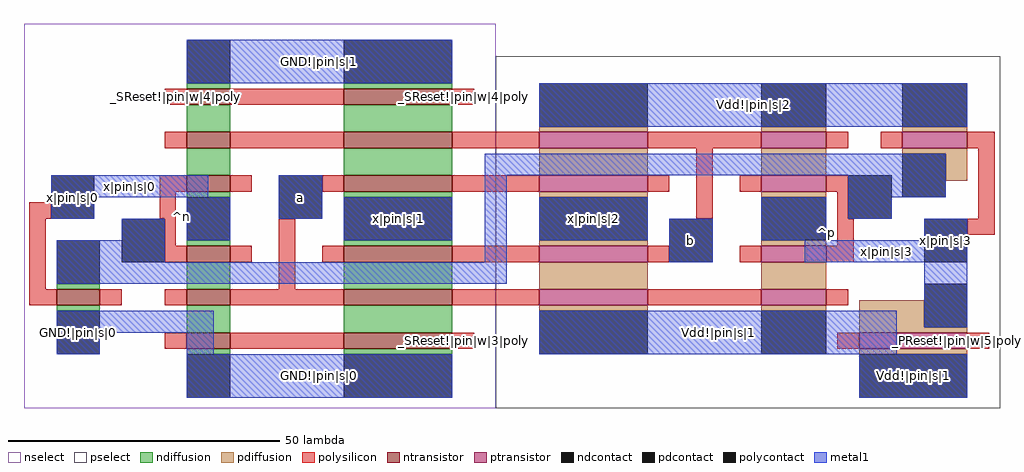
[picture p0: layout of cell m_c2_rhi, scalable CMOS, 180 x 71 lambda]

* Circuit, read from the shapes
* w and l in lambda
.subckt m_c2_rhi GND!|pin|s|0 GND!|pin|s|1 Vdd!|pin|s|1 Vdd!|pin|s|2 _PReset!|pin|w|5|poly _SReset!|pin|w|3|poly _SReset!|pin|w|4|poly a b x|pin|s|0 x|pin|s|1 x|pin|s|2 x|pin|s|3
M1 n1 x|pin|s|0 GND!|pin|s|0 VSUBS nfet w=8 l=3
M2 n2 _SReset!|pin|w|3|poly GND!|pin|s|0 VSUBS nfet w=8 l=3
M3 n3 a n2 VSUBS nfet w=8 l=3
M4 x|pin|s|0 n1 n3 VSUBS nfet w=8 l=3
M5 n4 n1 x|pin|s|0 VSUBS nfet w=8 l=3
M6 n5 b n4 VSUBS nfet w=8 l=3
M7 GND!|pin|s|1 _SReset!|pin|w|4|poly n5 VSUBS nfet w=8 l=3
M8 n6 _SReset!|pin|w|3|poly GND!|pin|s|0 VSUBS nfet w=20 l=3
M9 n7 a n6 VSUBS nfet w=20 l=3
M10 x|pin|s|1 b n7 VSUBS nfet w=20 l=3
M11 n8 a x|pin|s|1 VSUBS nfet w=20 l=3
M12 n9 b n8 VSUBS nfet w=20 l=3
M13 GND!|pin|s|1 _SReset!|pin|w|4|poly n9 VSUBS nfet w=20 l=3
M14 n10 a Vdd!|pin|s|1 NWELL pfet w=20 l=3
M15 x|pin|s|2 b n10 NWELL pfet w=20 l=3
M16 n11 a x|pin|s|2 NWELL pfet w=20 l=3
M17 Vdd!|pin|s|2 b n11 NWELL pfet w=20 l=3
M18 n12 a Vdd!|pin|s|1 NWELL pfet w=12 l=3
M19 x|pin|s|3 n1 n12 NWELL pfet w=12 l=3
M20 n13 n1 x|pin|s|3 NWELL pfet w=12 l=3
M21 Vdd!|pin|s|2 b n13 NWELL pfet w=12 l=3
M22 x|pin|s|3 _PReset!|pin|w|5|poly Vdd!|pin|s|1 NWELL pfet w=20 l=3
M23 Vdd!|pin|s|2 x|pin|s|3 n1 NWELL pfet w=12 l=3
.ends

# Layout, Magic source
magic
tech scmos
<< nselect >>
rect -87 15 0 86
<< pselect >>
rect 0 15 93 80
<< ndiffusion >>
rect -57 74 -49 75
rect -28 74 -8 75
rect -57 66 -49 71
rect -28 66 -8 71
rect -57 58 -49 63
rect -28 58 -8 63
rect -57 54 -49 55
rect -57 45 -49 46
rect -28 54 -8 55
rect -81 37 -73 38
rect -57 37 -49 42
rect -28 45 -8 46
rect -28 37 -8 42
rect -81 33 -73 34
rect -57 29 -49 34
rect -28 29 -8 34
rect -57 25 -49 26
rect -28 25 -8 26
<< pdiffusion >>
rect 8 66 28 67
rect 49 66 61 67
rect 75 66 87 67
rect 8 58 28 63
rect 8 54 28 55
rect 49 58 61 63
rect 75 62 87 63
rect 8 45 28 46
rect 49 54 61 55
rect 49 45 61 46
rect 83 57 87 62
rect 8 37 28 42
rect 49 37 61 42
rect 8 33 28 34
rect 49 33 61 34
rect 67 30 79 35
rect 67 29 87 30
rect 67 25 87 26
<< ntransistor >>
rect -57 71 -49 74
rect -28 71 -8 74
rect -57 63 -49 66
rect -28 63 -8 66
rect -57 55 -49 58
rect -28 55 -8 58
rect -57 42 -49 45
rect -28 42 -8 45
rect -81 34 -73 37
rect -57 34 -49 37
rect -28 34 -8 37
rect -57 26 -49 29
rect -28 26 -8 29
<< ptransistor >>
rect 8 63 28 66
rect 49 63 61 66
rect 75 63 87 66
rect 8 55 28 58
rect 49 55 61 58
rect 8 42 28 45
rect 49 42 61 45
rect 8 34 28 37
rect 49 34 61 37
rect 67 26 87 29
<< polysilicon >>
rect -61 71 -57 74
rect -49 71 -28 74
rect -8 71 -4 74
rect -61 63 -57 66
rect -49 63 -28 66
rect -8 63 8 66
rect 28 63 49 66
rect 61 63 65 66
rect 71 63 75 66
rect 87 63 92 66
rect -86 50 -82 53
rect -62 55 -57 58
rect -49 55 -45 58
rect -62 50 -59 55
rect -86 37 -83 50
rect -61 45 -59 50
rect -32 55 -28 58
rect -8 55 8 58
rect 28 55 32 58
rect -61 42 -57 45
rect -49 42 -45 45
rect -40 37 -37 50
rect 37 50 40 63
rect 45 55 49 58
rect 61 55 65 58
rect -32 42 -28 45
rect -8 42 8 45
rect 28 42 32 45
rect 63 50 65 55
rect 89 50 92 63
rect 63 45 66 50
rect 45 42 49 45
rect 61 42 66 45
rect 87 47 92 50
rect -86 34 -81 37
rect -73 34 -69 37
rect -61 34 -57 37
rect -49 34 -28 37
rect -8 34 8 37
rect 28 34 49 37
rect 61 34 65 37
rect -61 26 -57 29
rect -49 26 -28 29
rect -8 26 -4 29
rect 63 26 67 29
rect 87 26 91 29
<< ndcontact >>
rect -57 75 -49 83
rect -28 75 -8 83
rect -81 38 -73 46
rect -57 46 -49 54
rect -28 46 -8 54
rect -81 25 -73 33
rect -57 17 -49 25
rect -28 17 -8 25
<< pdcontact >>
rect 8 67 28 75
rect 49 67 61 75
rect 75 67 87 75
rect 8 46 28 54
rect 49 46 61 54
rect 75 54 83 62
rect 8 25 28 33
rect 49 25 61 33
rect 79 30 87 38
rect 67 17 87 25
<< polycontact >>
rect -82 50 -74 58
rect -69 42 -61 50
rect -40 50 -32 58
rect 32 42 40 50
rect 65 50 73 58
rect 79 42 87 50
<< metal1 >>
rect -57 75 -8 83
rect 8 67 87 75
rect -2 58 83 62
rect -82 54 -53 58
rect -82 50 -74 54
rect -69 46 -61 50
rect -57 46 -49 54
rect -40 50 -32 58
rect -28 46 -8 54
rect -81 42 -61 46
rect -2 42 2 58
rect 65 54 83 58
rect 8 46 28 54
rect 32 42 40 50
rect 49 46 61 54
rect 65 50 73 54
rect 79 46 87 50
rect 57 42 87 46
rect -81 38 2 42
rect -81 29 -52 33
rect -81 25 -73 29
rect -57 25 -52 29
rect 8 25 74 33
rect 79 30 87 42
rect -57 17 -8 25
rect 67 17 87 25
<< labels >>
rlabel metal1 -40 50 -32 58 1 a
rlabel metal1 32 42 40 50 1 b
rlabel space -88 15 -28 86 7 ^n
rlabel space 28 15 94 80 3 ^p
rlabel metal1 -81 25 -73 33 1 GND!|pin|s|0
rlabel metal1 8 25 74 33 1 Vdd!|pin|s|1
rlabel metal1 67 17 87 25 1 Vdd!|pin|s|1
rlabel polysilicon -61 26 -57 29 1 _SReset!|pin|w|3|poly
rlabel polysilicon -8 26 -4 29 1 _SReset!|pin|w|3|poly
rlabel polysilicon -61 71 -57 74 1 _SReset!|pin|w|4|poly
rlabel polysilicon -8 71 -4 74 1 _SReset!|pin|w|4|poly
rlabel polysilicon 87 26 91 29 1 _PReset!|pin|w|5|poly
rlabel metal1 -57 75 -8 83 1 GND!|pin|s|1
rlabel metal1 8 67 87 75 1 Vdd!|pin|s|2
rlabel metal1 -82 50 -74 58 1 x|pin|s|0
rlabel metal1 -82 54 -53 58 1 x|pin|s|0
rlabel metal1 -28 46 -8 54 1 x|pin|s|1
rlabel metal1 8 46 28 54 1 x|pin|s|2
rlabel metal1 57 42 87 46 1 x|pin|s|3
rlabel metal1 79 42 87 50 1 x|pin|s|3
rlabel metal1 49 46 61 54 1 x|pin|s|3
rlabel metal1 -57 46 -49 54 1 x|pin|s|0
rlabel metal1 -57 17 -8 25 1 GND!|pin|s|0
<< end >>
